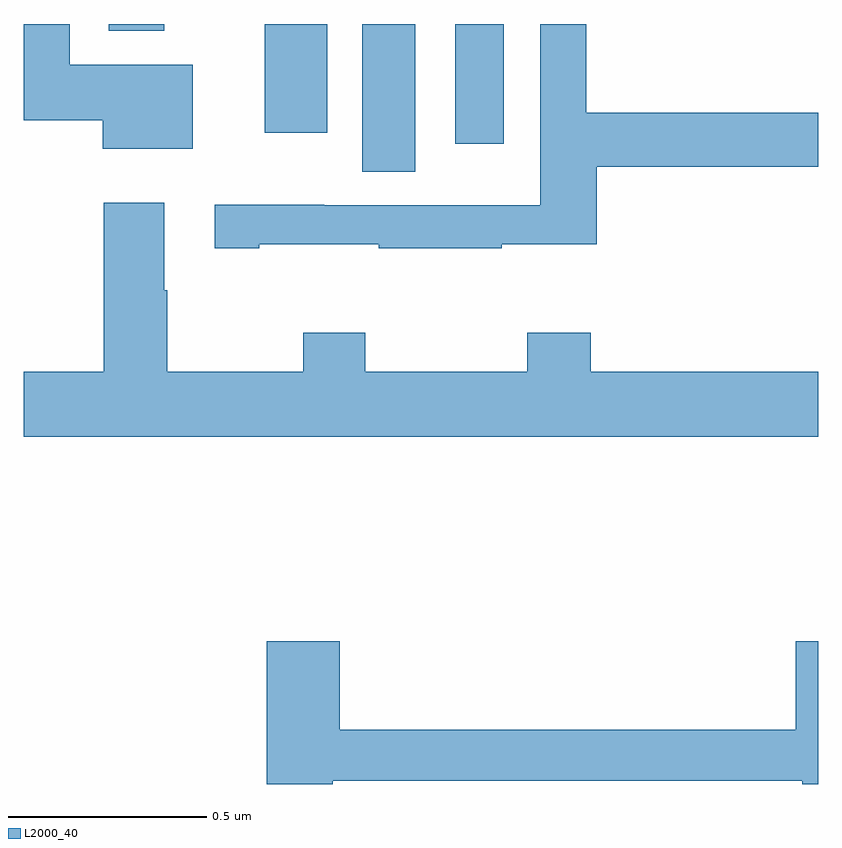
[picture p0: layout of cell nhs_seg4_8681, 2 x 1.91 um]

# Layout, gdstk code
import gdstk
lib = gdstk.Library(unit=1e-6, precision=1e-09)
def R(c, l, rs):  # rectangles x0, y0, x1, y1
    for r in rs: c.add(gdstk.rectangle(r[:2], r[2:], *l))
def P(c, l, *ps):  # polygons
    for p in ps: c.add(gdstk.Polygon(p, *l))
L2000_40 = (2000, 40)

nhs_seg4_8681 = lib.new_cell('nhs_seg4_8681')
R(nhs_seg4_8681, L2000_40, [(218.852,757.528,218.986,757.9), (219.086,757.599,219.208,757.9), (218.606,757.626,218.764,757.9), (218.213,757.883,218.353,757.9)])
P(nhs_seg4_8681, L2000_40, [(218.425,757.798),(218.116,757.798),(218.116,757.9),(218,757.9),(218,757.658),(218.198,757.658),(218.198,757.586),(218.425,757.586)],
  [(218.593,757.345),(218.893,757.345),(218.893,757.335),(219.203,757.335),(219.203,757.345),(219.443,757.345),(219.443,757.54),(220,757.54),(220,757.676),(219.416,757.676),(219.416,757.9),(219.3,757.9),(219.3,757.444),(219.09,757.444),(219.09,757.443),(218.756,757.443),(218.756,757.445),(218.481,757.445),(218.481,757.335),(218.593,757.335)],
  [(220,757.024),(219.428,757.024),(219.428,757.123),(219.268,757.123),(219.268,757.024),(218.859,757.024),(218.859,757.123),(218.704,757.123),(218.704,757.024),(218.361,757.024),(218.361,757.229),(218.353,757.229),(218.353,757.45),(218.201,757.45),(218.201,757.024),(218,757.024),(218,756.86),(220,756.86)],
  [(218.778,755.994),(219.96,755.994),(219.96,755.986),(220,755.986),(220,756.346),(219.944,756.346),(219.944,756.122),(218.795,756.122),(218.795,756.346),(218.612,756.346),(218.612,755.986),(218.778,755.986)])

lib.write_gds('nhs_seg4_8681.gds')
